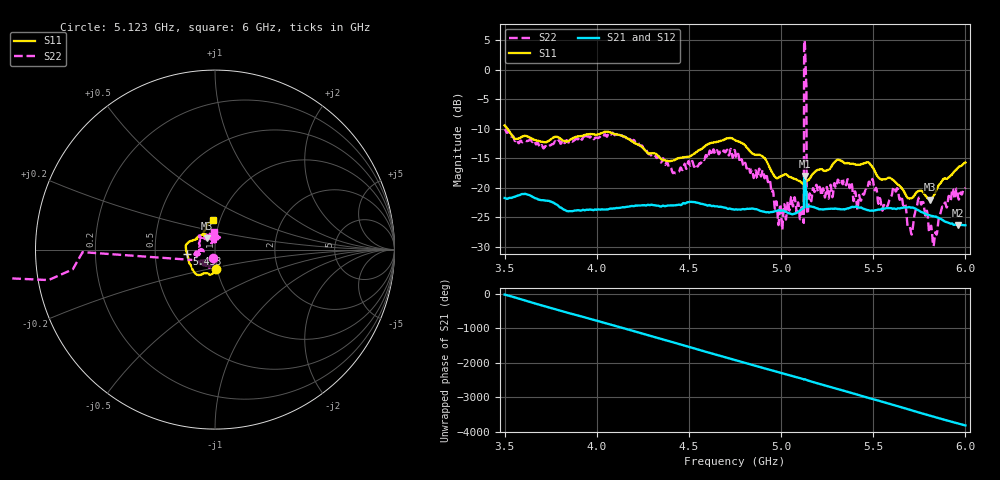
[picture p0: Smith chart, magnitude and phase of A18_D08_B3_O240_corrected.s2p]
! Created with skrf 1.9.0 (http://scikit-rf.org).
# Hz S RI R 50.0
!freq ReS11 ImS11 ReS21 ImS21 ReS12 ImS12 ReS22 ImS22
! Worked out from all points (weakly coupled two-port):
!   1601 points, 3.5 GHz to 6 GHz, reference 50 ohm
!   highest |S21| = -18.02 dB at 5.128 GHz (marker M1); lowest = -26.4 dB at 5.961 GHz (marker M2)
!   lowest |S11| = -22.0 dB at 5.808 GHz (marker M3), VSWR 1.17, Z = 45.1 + j5.79 ohm
!   |S11| at or under -10 dB: 3.516 GHz to end of sweep
!   |S22| runs from -29.9 to 5.0 dB; largest |S21 - S12| = 0.0012
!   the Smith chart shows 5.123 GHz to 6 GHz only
!   S11 on the Smith chart (normalised r, x): 5.123 GHz: 0.99, -0.22; 5.433 GHz: 0.73, -0.04; 6 GHz: 0.93, +0.31
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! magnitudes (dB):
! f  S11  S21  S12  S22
! 3.5 GHz  -9.4  -21.8  -21.7  -10.1
! 3.917 GHz  -11.2  -23.9  -23.9  -11.8
! 4.334 GHz  -14.6  -23.1  -23.0  -14.7
! 4.75 GHz  -11.9  -23.7  -23.7  -13.8
! 4.928 GHz  -15.9  -24.1  -24.2  -19.0
! 4.995 GHz  -18.1  -23.9  -23.9  -22.8
! 5.111 GHz  -19.1  -23.7  -23.7  -22.9
! 5.123 GHz  -19.4  -23.4  -23.4  -26.0
! 5.128 GHz  -19.1  -18.0  -18.0  5.0
! 5.138 GHz  -18.9  -20.7  -20.7  -2.6
! 5.152 GHz  -18.6  -23.2  -23.2  -21.5
! 5.167 GHz  -17.9  -23.2  -23.2  -21.6
! 5.433 GHz  -16.1  -23.4  -23.4  -22.2
! 5.487 GHz  -16.2  -23.9  -23.9  -19.4
! 5.584 GHz  -18.3  -23.5  -23.5  -22.4
! 5.623 GHz  -19.1  -23.6  -23.6  -20.6
! 5.703 GHz  -21.8  -23.4  -23.4  -27.3
! 5.758 GHz  -20.5  -24.1  -24.0  -22.6
! 5.808 GHz  -22.0  -24.7  -24.7  -27.1
! 5.834 GHz  -21.0  -24.9  -24.9  -28.0
! 5.961 GHz  -16.6  -26.4  -26.3  -21.7
! 6 GHz  -15.7  -26.4  -26.4  -20.0
